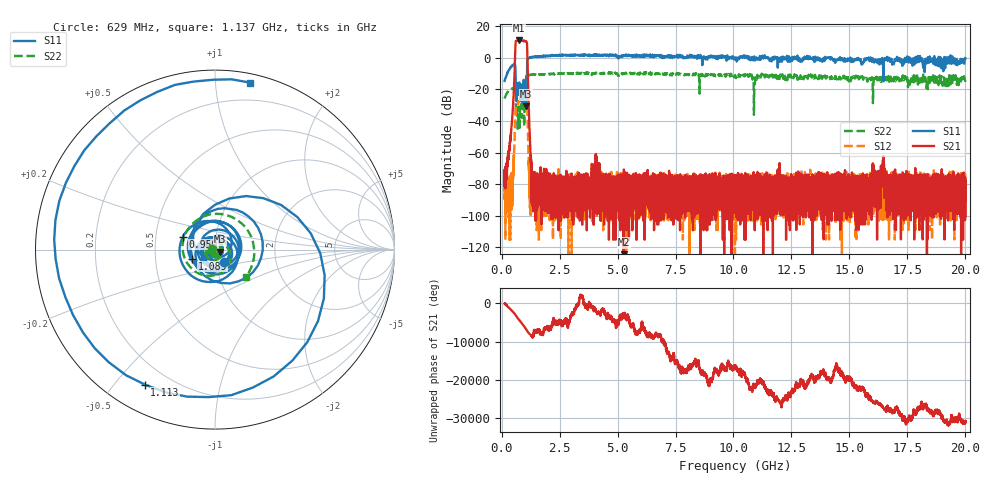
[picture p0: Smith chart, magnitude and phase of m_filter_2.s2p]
!Created with skrf (http://scikit-rf.org).
# GHz S RI R 50.0
!freq ReS11 ImS11 ReS21 ImS21 ReS12 ImS12 ReS22 ImS22
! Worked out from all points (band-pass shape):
!   20013 points, 130 MHz to 20 GHz, reference 50 ohm
!   highest |S21| = 10.83 dB at 730 MHz (marker M1); lowest = -178.5 dB at 5.26 GHz (marker M2)
!   |S21| within 3 dB of the highest: 597 MHz to 1.099 GHz (502.5 MHz wide, 59.2 % of centre)
!   lowest |S11| = -30.8 dB at 1.045 GHz (marker M3), VSWR 1.06, Z = 52.7 - j1.18 ohm
!   |S11| at or under -10 dB: start of sweep to 243.3 MHz; 602.1 MHz to 1.095 GHz (493.3 MHz wide, 58.1 % of centre); 16.45792 GHz to 16.46938 GHz (11.46 MHz wide, 0.0696 % of centre) (the widest 3 of 4)
!   |S22| runs from -45.0 to -9.2 dB; largest |S21 - S12| = 3.5
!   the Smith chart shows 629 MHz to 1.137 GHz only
!   S11 on the Smith chart (normalised r, x): 629 MHz: 1.10, -0.15; 959 MHz: 0.69, +0.10; 1.089 GHz: 0.77, -0.08; 1.113 GHz: 0.11, -0.60; 1.137 GHz: 0.06, +1.23
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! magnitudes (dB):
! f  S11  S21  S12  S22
! 130 MHz  -14.8  -71.6  -82.7  -25.9
! 255 MHz  -9.5  -66.0  -81.4  -21.7
! 436 MHz  -5.7  -42.4  -77.1  -19.8
! 629 MHz  -21.5  10.5  -30.4  -35.6
! 730 MHz  -22.5  10.8  -28.1  -32.1
! 959 MHz  -14.3  10.4  -25.3  -29.7
! 1.045 GHz  -30.8  10.4  -24.5  -29.8
! 1.089 GHz  -17.4  9.7  -24.7  -27.2
! 1.113 GHz  -1.4  -0.5  -34.8  -14.7
! 1.137 GHz  -0.4  -15.2  -49.8  -12.8
! 1.261 GHz  0.2  -64.0  -77.2  -10.8
! 1.391 GHz  0.5  -75.4  -92.4  -10.7
! 3.442 GHz  1.7  -90.1  -78.7  -9.6
! 4.146 GHz  1.7  -82.7  -87.4  -9.6
! 5.26 GHz  1.4  -178.5  -74.6  -9.8
! 6.754 GHz  1.5  -74.9  -84.9  -9.9
! 10.06 GHz  0.0  -80.4  -77.5  -11.1
! 13.38 GHz  -0.3  -85.1  -78.9  -12.6
! 15.85 GHz  -0.9  -82.4  -85.1  -14.8
! 16.41 GHz  -0.7  -79.9  -87.9  -13.1
! 16.69 GHz  -0.1  -78.9  -88.3  -12.7
! 20 GHz  -0.6  -87.3  -82.0  -14.4
